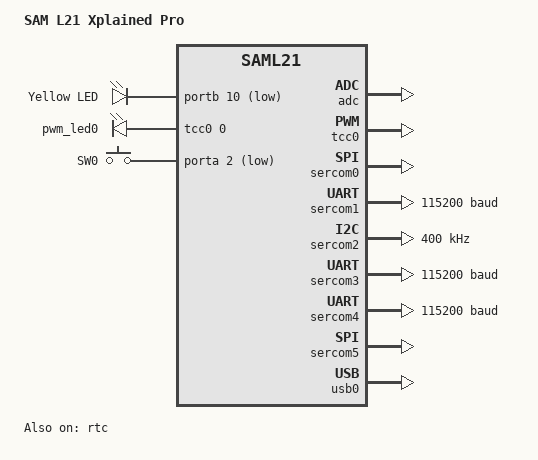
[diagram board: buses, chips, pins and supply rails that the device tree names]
/*
 * Copyright (c) 2021 Argentum Systems Ltd.
 # Copyright (c) 2024-2025 Gerson Fernando Budke <nandojve@gmail.com>
 *
 * SPDX-License-Identifier: Apache-2.0
 */

/dts-v1/;
#include <atmel/saml21.dtsi>
#include "saml21_xpro-pinctrl.dtsi"
#include <zephyr/dt-bindings/input/input-event-codes.h>

/ {
	model = "SAM L21 Xplained Pro";
	compatible = "saml21,xpro", "atmel,saml21j18b", "atmel,saml21";

	chosen {
		zephyr,console = &sercom3;
		zephyr,shell-uart = &sercom3;
		zephyr,sram = &sram0;
		zephyr,flash = &flash0;
	};

	/* These aliases are provided for compatibility with samples */
	aliases {
		led0 = &led0;
		pwm-led0 = &pwm_led0;
		sw0 = &user_button;
	};

	leds {
		compatible = "gpio-leds";
		led0: led_0 {
			gpios = <&portb 10 GPIO_ACTIVE_LOW>;
			label = "Yellow LED";
		};
	};

	pwmleds {
		compatible = "pwm-leds";
		pwm_led0: pwm_led_0 {
			pwms = <&tcc0 0 PWM_MSEC(20)>;
		};
	};

	buttons {
		compatible = "gpio-keys";
		user_button: button_0 {
			gpios = <&porta 2 (GPIO_PULL_UP | GPIO_ACTIVE_LOW)>;
			label = "SW0";
			zephyr,code = <INPUT_KEY_0>;
		};
	};
};

&cpu0 {
	clock-frequency = <48000000>;
};

&adc {
	status = "okay";
};

&tcc0 {
	status = "okay";
	compatible = "atmel,sam0-tcc-pwm";
	/* Gives a maximum period of 1.4s */
	prescaler = <4>;
	#pwm-cells = <2>;

	pinctrl-0 = <&tcc0_default>;
	pinctrl-names = "default";
};

&rtc {
	status = "okay";
	counter-mode = "clock";
	prescaler = <1024>;

	atmel,assigned-clocks = <&osc32kctrl 4>;
};

&sercom0 {
	status = "okay";
	compatible = "atmel,sam0-spi";
	dipo = <0>;
	dopo = <1>;
	#address-cells = <1>;
	#size-cells = <0>;

	pinctrl-0 = <&sercom0_default>;
	pinctrl-names = "default";
};

&sercom1 {
	status = "okay";
	compatible = "atmel,sam0-uart";
	current-speed = <115200>;
	rxpo = <3>;
	txpo = <0>;

	pinctrl-0 = <&sercom1_default>;
	pinctrl-names = "default";
};

&sercom2 {
	status = "okay";
	compatible = "atmel,sam0-i2c";
	clock-frequency = <I2C_BITRATE_FAST>;
	#address-cells = <1>;
	#size-cells = <0>;

	pinctrl-0 = <&sercom2_default>;
	pinctrl-names = "default";
};

&sercom3 {
	status = "okay";
	compatible = "atmel,sam0-uart";
	current-speed = <115200>;
	rxpo = <1>;
	txpo = <0>;

	pinctrl-0 = <&sercom3_default>;
	pinctrl-names = "default";
};

&sercom4 {
	status = "okay";
	compatible = "atmel,sam0-uart";
	current-speed = <115200>;
	rxpo = <1>;
	txpo = <0>;

	pinctrl-0 = <&sercom4_default>;
	pinctrl-names = "default";
};

&sercom5 {
	status = "okay";
	compatible = "atmel,sam0-spi";
	dipo = <0>;
	dopo = <1>;
	#address-cells = <1>;
	#size-cells = <0>;

	pinctrl-0 = <&sercom5_default>;
	pinctrl-names = "default";
};

zephyr_udc0: &usb0 {
	status = "okay";

	pinctrl-0 = <&usb0_default>;
	pinctrl-names = "default";
};
